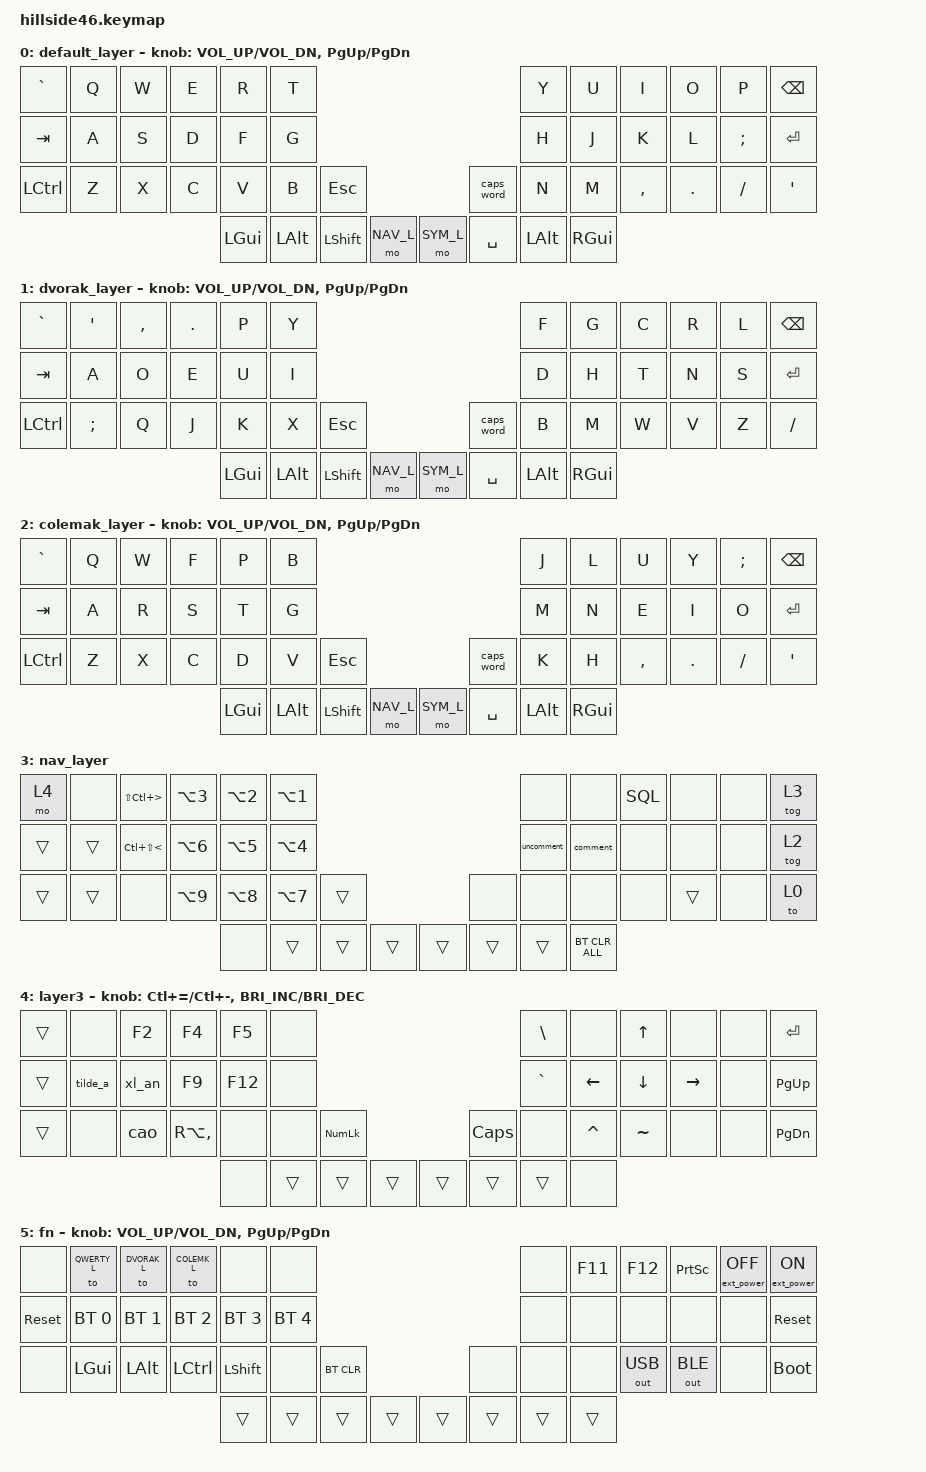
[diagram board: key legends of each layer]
/*
 * Copyright (c) 2021-2022 The ZMK Contributors
 *
 * SPDX-License-Identifier: MIT
 */

#include <behaviors.dtsi>
#include <dt-bindings/zmk/bt.h>
#include <dt-bindings/zmk/keys.h>
#include <dt-bindings/zmk/outputs.h>
#include <dt-bindings/zmk/pointing.h>

#define QWERTY_L 0
#define DVORAK_L 1
#define COLEMK_L 2
#define NAV_L    3
#define SYM_L    4
#define ADJ_L    5
#define Undo   LC(Z)
#define Cut    LC(X)
#define Copy   LC(C)
#define Paste  LC(V)
#define Redo   LC(Y)

/ {
    combos {
        compatible = "zmk,combos";

        Layer3 {
            bindings = <&kt LG(L)>;
            key-positions = <38 45>;
        };

        tilde_a {
            bindings = <&tilde_a>;
            key-positions = <43 13>;
        };

        tilde_o {
            bindings = <&tilde_o>;
            key-positions = <43 9>;
        };

        f2 {
            bindings = <&kp F2>;
            key-positions = <27 40>;
        };

        cedilha2 {
            bindings = <&kp RA(COMMA)>;
            key-positions = <27 43>;
        };

        enter {
            bindings = <&kp ENTER>;
            key-positions = <43 11>;
        };

        par {
            bindings = <&par>;
            key-positions = <40 16>;
        };

        brac {
            bindings = <&brac>;
            key-positions = <40 4>;
        };

        braces {
            bindings = <&brace>;
            key-positions = <40 1>;
        };

        ag {
            bindings = <&ag>;
            key-positions = <43 18>;
        };

        circ {
            bindings = <&circ>;
            key-positions = <43 33>;
        };

        enter2 {
            bindings = <&kp ENTER>;
            key-positions = <40 0>;
        };

        esc {
            bindings = <&kp ESCAPE>;
            key-positions = <39 29>;
        };

        esc2 {
            bindings = <&kp ESCAPE>;
            key-positions = <44 32>;
        };

        del {
            bindings = <&kp DEL>;
            key-positions = <40 39>;
        };

        backspace {
            bindings = <&kp BACKSPACE>;
            key-positions = <40 41>;
        };

        p1 {
            bindings = <&p1>;
            key-positions = <30 41 40 39>;
        };

        p2 {
            bindings = <&p2>;
            key-positions = <0 12 24 41 40>;
        };

        LM {
            bindings = <&mkp MB1>;
            key-positions = <41 16>;
        };

        LM2 {
            bindings = <&mkp MB1>;
            key-positions = <41 17>;
        };

        RM {
            bindings = <&mkp MB2>;
            key-positions = <41 4>;
        };
    };

    macros {
        tilde_a: cedilha2 {
            compatible = "zmk,behavior-macro";
            #binding-cells = <0>;
            bindings = <&kp TILDE>, <&macro_wait_time 1>, <&kp A>;

            label = "CEDILHA2";
        };

        tilde_o: tilde_o {
            compatible = "zmk,behavior-macro";
            #binding-cells = <0>;
            bindings = <&kp TILDE>, <&macro_tap>, <&kp O>;

            label = "TILDE_O";
        };

        cao: cao {
            compatible = "zmk,behavior-macro";
            #binding-cells = <0>;
            bindings = <&kp RA(COMMA)>, <&macro_tap>, <&tilde_a>;

            label = "CAO";
        };

        circ: circ {
            compatible = "zmk,behavior-macro";
            #binding-cells = <0>;
            bindings = <&kp CARET>, <&macro_tap>, <&kp E>;

            label = "CIRC";
        };

        ag: ag {
            compatible = "zmk,behavior-macro";
            #binding-cells = <0>;
            bindings = <&kp GRAVE>, <&macro_tap>, <&kp A>;

            label = "AG";
        };

        par: par {
            compatible = "zmk,behavior-macro";
            #binding-cells = <0>;
            bindings =
                <&kp LEFT_PARENTHESIS>,
                <&macro_tap>,
                <&kp RIGHT_PARENTHESIS>,
                <&macro_tap>,
                <&kp LEFT>;

            label = "PAR";
        };

        brac: brac {
            compatible = "zmk,behavior-macro";
            #binding-cells = <0>;
            bindings =
                <&kp LEFT_BRACKET>,
                <&macro_tap>,
                <&kp RIGHT_BRACKET>,
                <&macro_tap>,
                <&kp LEFT_ARROW>;

            label = "BRAC";
        };

        brace: brace {
            compatible = "zmk,behavior-macro";
            #binding-cells = <0>;
            bindings =
                <&kp LEFT_BRACE>,
                <&macro_tap>,
                <&kp RIGHT_BRACE>,
                <&macro_tap>,
                <&kp LEFT_ARROW>;

            label = "BRACE";
        };

        SQL: SQL {
            compatible = "zmk,behavior-macro";
            #binding-cells = <0>;
            bindings = <&kp LS(S) &kp LS(E) &kp LS(L) &kp LS(E) &kp LS(C) &kp LS(T) &kp RET &kp STAR &kp RET &kp LS(F) &kp LS(R) &kp LS(O) &kp LS(M)>;
            label = "SQL";
        };

        comment: comment {
            compatible = "zmk,behavior-macro";
            #binding-cells = <0>;
            bindings = <&kp LC(K) &kp LC(C)>;
            label = "comment";
        };

        uncomment: uncomment {
            compatible = "zmk,behavior-macro";
            #binding-cells = <0>;
            bindings = <&kp LC(K) &kp LC(U)>;
            label = "UNCOMMENT";
        };

        p1: p1 {
            compatible = "zmk,behavior-macro";
            #binding-cells = <0>;
            bindings =
                <&kp N2 &kp N9 &kp N0 &kp N9 &kp N1 &kp N9 &kp N6 &kp N7>,
                <&macro_press>;

            label = "P1";
            wait-ms = <1>;
            tap-ms = <1>;
        };

        a_top: a_top {
            compatible = "zmk,behavior-macro";
            #binding-cells = <0>;
            bindings = <&kp LA(NUMBER_2) &kp A &kp T>;
            label = "A_TOP";
        };

        a_bottom: a_bottom {
            compatible = "zmk,behavior-macro";
            #binding-cells = <0>;
            bindings = <&kp LA(NUMBER_2) &kp A &kp B>;
            label = "A_BOTTOM";
        };

        a_left: a_left {
            compatible = "zmk,behavior-macro";
            #binding-cells = <0>;
            bindings = <&kp LA(NUMBER_2) &kp A &kp L>;
            label = "A_LEFT";
        };

        a_right: a_right {
            compatible = "zmk,behavior-macro";
            #binding-cells = <0>;
            bindings = <&kp LA(NUMBER_2) &kp A &kp R>, <&macro_press>;

            label = "A_RIGHT";
        };

        a_middle: a_middle {
            compatible = "zmk,behavior-macro";
            #binding-cells = <0>;
            bindings = <&kp LA(NUMBER_2) &kp A &kp M>;
            label = "A_MIDDLE";
        };

        a_center: a_center {
            compatible = "zmk,behavior-macro";
            #binding-cells = <0>;
            bindings = <&kp LA(NUMBER_2) &kp A &kp C>;
            label = "A_CENTER";
        };

        d_vert: d_vert {
            compatible = "zmk,behavior-macro";
            #binding-cells = <0>;
            bindings = <&kp LA(NUMBER_2) &kp A &kp V>;
            label = "D_VERT";
        };

        d_hor: d_hor {
            compatible = "zmk,behavior-macro";
            #binding-cells = <0>;
            bindings = <&kp LA(NUMBER_2) &kp A &kp H>;
            label = "D_HOR";
        };

        p2: p2 {
            compatible = "zmk,behavior-macro";
            #binding-cells = <0>;
            bindings = <&kp UNDER &kp LS(P) &kp C &kp X &kp G &kp H &kp LS(S) &kp N1 &kp N2 &kp N8 &kp N0>;
            label = "P2";
            wait-ms = <1>;
            tap-ms = <1>;
        };

        xl_an: xl_an {
            compatible = "zmk,behavior-macro";
            #binding-cells = <0>;
            bindings = <&kp LA(NUMBER_2) &kp A &kp N>;
            label = "XL_AN";
        };
    };

    behaviors {
        d_fix: d_fix {
            compatible = "zmk,behavior-tap-dance";
            label = "D_FIX";
            #binding-cells = <0>;
            bindings = <&kp D>, <&kp D>, <&kp D>, <&kp D>;

            tapping-term-ms = <250>;
        };
    };

    keymap {
        compatible = "zmk,keymap";

        default_layer {
            /* QWERTY
 * -------------------------------------------------------------------------------------------------------------------------------------
 * | `     |   Q   |   W   |   E   |   R   |   T   |-----------------------------------|   Y   |   U   |   I   |   O   |   P   | BKSPC |
 * | TAB   |   A   |   S   |   D   |   F   |   G   |-----------------------------------|   H   |   J   |   K   |   L   |   ;   | ENTER |
 * | CTRL  |   Z   |   X   |   C   |   V   |   B   |  ESC  |-------------------|  CAPS |   N   |   M   |   ,   |   .   |   /   |   '   |
 *                                 |  GUI  |  ALT  |SK SHFT|  Nav  |---|  Sym  | SPACE |  ALT  |  GUI  |
 */
                        bindings = <
&kp  GRAVE    &kp  Q        &kp  W        &kp  E        &kp  R        &kp  T                                                                         &kp  Y        &kp  U        &kp  I        &kp  O        &kp  P        &kp  BSPC
&kp  TAB      &kp  A        &kp  S        &kp  D        &kp  F        &kp  G                                                                         &kp  H        &kp  J        &kp  K        &kp  L        &kp  SEMI     &kp  ENTER  
&kp  LCTRL    &kp  Z        &kp  X        &kp  C        &kp  V        &kp  B        &kp  ESC                                           &caps_word    &kp  N        &kp  M        &kp  COMMA    &kp  DOT      &kp  SLASH    &kp  SQT
                                                        &kp  LGUI     &kp  LALT     &kp  LSHIFT    &mo  NAV_L            &mo  SYM_L    &kp  SPACE    &kp  LALT     &kp  RGUI
                        >;
			
                        sensor-bindings = <&inc_dec_kp C_VOL_UP C_VOL_DN &inc_dec_kp PG_UP PG_DN>;
                };
		
                dvorak_layer {
/* DVORAK
 * -------------------------------------------------------------------------------------------------------------------------------------
 * | `     |   '   |   ,   |   .   |   P   |   Y   |-----------------------------------|   F   |   G   |   C   |   R   |   L   | BKSPC |
 * | TAB   |   A   |   O   |   E   |   U   |   I   |-----------------------------------|   D   |   H   |   T   |   N   |   S   | ENTER |
 * | CTRL  |   ;   |   Q   |   J   |   K   |   X   |  ESC  |-------------------| CAPS  |   B   |   M   |   W   |   V   |   Z   |   /   |
 *                                 |  GUI  |  ALT  |SK SHFT|  Nav  |---|  Sym  | SPACE |  ALT  |  GUI  |
 */
                        bindings = <
&kp  GRAVE    &kp  SQT      &kp  COMMA    &kp  DOT      &kp  P        &kp  Y                                                                         &kp  F        &kp  G        &kp  C        &kp  R        &kp  L        &kp  BSPC
&kp  TAB      &kp  A        &kp  O        &kp  E        &kp  U        &kp  I                                                                         &kp  D        &kp  H        &kp  T        &kp  N        &kp  S        &kp  ENTER
&kp  LCTRL    &kp  SEMI     &kp  Q        &kp  J        &kp  K        &kp  X        &kp  ESC                                           &caps_word    &kp  B        &kp  M        &kp  W        &kp  V        &kp  Z        &kp  SLASH
                                                        &kp  LGUI     &kp  LALT     &kp  LSHIFT    &mo  NAV_L            &mo  SYM_L    &kp  SPACE    &kp  LALT     &kp  RGUI
                        >;
			
                        sensor-bindings = <&inc_dec_kp C_VOL_UP C_VOL_DN &inc_dec_kp PG_UP PG_DN>;
                };
		
                colemak_layer {
/* COLEMAK-DH
 * -------------------------------------------------------------------------------------------------------------------------------------
 * | `     |   Q   |   W   |   F   |   P   |   B   |-----------------------------------|   J   |   L   |   U   |   Y   |   ;   | BKSPC |
 * | TAB   |   A   |   R   |   S   |   T   |   G   |-----------------------------------|   M   |   N   |   E   |   I   |   O   | ENTER |
 * | CTRL  |   Z   |   X   |   C   |   D   |   V   |  ESC  |-------------------| CAPS  |   K   |   H   |   ,   |   .   |   /   |   '   |
 *                                 |  GUI  |  ALT  |SK SHFT|  Nav  |---|  Sym  | SPACE |  ALT  |  GUI  |
 */
                        bindings = <
&kp  GRAVE    &kp  Q        &kp  W        &kp  F        &kp  P        &kp  B                                                                         &kp  J        &kp  L        &kp  U        &kp  Y        &kp  SEMI     &kp  BSPC
&kp  TAB      &kp  A        &kp  R        &kp  S        &kp  T        &kp  G                                                                         &kp  M        &kp  N        &kp  E        &kp  I        &kp  O        &kp  ENTER
&kp  LCTRL    &kp  Z        &kp  X        &kp  C        &kp  D        &kp  V        &kp   ESC                                          &caps_word    &kp  K        &kp  H        &kp  COMMA    &kp  DOT      &kp  SLASH    &kp  SQT
                                                        &kp  LGUI     &kp  LALT     &kp  LSHIFT    &mo  NAV_L            &mo  SYM_L    &kp  SPACE    &kp  LALT     &kp  RGUI
                        >;
			
                        sensor-bindings = <&inc_dec_kp C_VOL_UP C_VOL_DN &inc_dec_kp PG_UP PG_DN>;
                };
		
                nav_layer {
/* NAV   
 * -------------------------------------------------------------------------------------------------------------------------------------
 * | Copy  |   1   |   2   |   3   |   4   |   5   |-----------------------------------|   6   |   7   |   8   |   9   |   0   | BSPC  |
 * | Cut   |  GUI  |  Alt  | Ctrl  | Shift | Paste |-----------------------------------| PG UP |  Left |  Up   |  Down | Right | PG DN |
 * | Ctrl  |  F1   |  F2   |  F3   |  F4   |  F5   |  UnDo |-------------------| ReDo  |  F6   |  F7   |  F8   |  F9   |  F10  | Ctrl  |
 *                                 |       |       |       |       |---| ADJ_L |       |       |       |
 */

            bindings = <
&mo 4   &none   &kp LS(LC(GREATER_THAN))  &kp LA(NUMBER_3)  &kp LA(NUMBER_2)  &kp LA(NUMBER_1)                                    &none       &none           &SQL   &none   &none  &tog 3
&trans  &trans  &kp LC(LS(LESS_THAN))     &kp LA(NUMBER_6)  &kp LA(NUMBER_5)  &kp LA(NUMBER_4)                                    &uncomment  &comment        &none  &none   &none  &tog 2
&trans  &trans  &none                     &kp LA(NUMBER_9)  &kp LA(NUMBER_8)  &kp LA(NUMBER_7)  &trans                    &none   &none       &none           &none  &trans  &none  &to 0
                                                            &none             &trans            &trans  &trans    &trans  &trans  &trans      &bt BT_CLR_ALL
            >;
        };

        layer3 {
            /* COLEMAK-DH
 * -------------------------------------------------------------------------------------------------------------------------------------
 * | `     |   Q   |   W   |   F   |   P   |   B   |-----------------------------------|   J   |   L   |   U   |   Y   |   ;   | BKSPC |
 * | TAB   |   A   |   R   |   S   |   T   |   G   |-----------------------------------|   M   |   N   |   E   |   I   |   O   | ENTER |
 * | CTRL  |   Z   |   X   |   C   |   D   |   V   |  ESC  |-------------------| CAPS  |   K   |   H   |   ,   |   .   |   /   |   '   |
 *                                 |  GUI  |  ALT  |SK SHFT|  Nav  |---|  Sym  | SPACE |  ALT  |  GUI  |
 */

            bindings = <
&trans  &none     &kp F2  &kp F4         &kp F5   &none                                               &kp BACKSLASH  &none           &kp UP_ARROW    &none            &none  &kp ENTER
&trans  &tilde_a  &xl_an  &kp F9         &kp F12  &none                                               &kp GRAVE      &kp LEFT_ARROW  &kp DOWN_ARROW  &kp RIGHT_ARROW  &none  &kp PAGE_UP
&trans  &none     &cao    &kp RA(COMMA)  &none    &none   &kp KP_NUMLOCK                    &kp CAPS  &none          &kp CARET       &kp TILDE       &none            &none  &kp PAGE_DOWN
                                         &none    &trans  &trans          &trans    &trans  &trans    &trans         &none
            >;

            sensor-bindings =
                <&inc_dec_kp LC(EQUAL) LC(MINUS)>,
                <&inc_dec_kp C_BRIGHTNESS_INC C_BRIGHTNESS_DEC>;
        };

        fn {
            /* ADJUST
 * -------------------------------------------------------------------------------------------------------------------------------------
 * |       | QWERTY| DVORAK| COLEMK|       |       |-----------------------------------|       |  F11  |  F12  |Prt Scr|EP_OFF | EP_ON |
 * | RESET | BT 0  | BT 1  | BT 2  | BT 3  | BT 4  |-----------------------------------|       |       |       |       |       | RESET |
 * |       | LGUI  | LALT  | LCTRL | LSHIFT|       |BT CLR |-------------------|       |       |       |OUT_USB|OUT_BLE|       | BOOTL |
 *                                 |       |       |       |       |---|       |       |       |       |
 */
                        bindings = <
&none         &to  QWERTY_L &to  DVORAK_L &to  COLEMK_L &none         &none                                                                             &none             &kp   F11          &kp   F12  &kp PRINTSCREEN   &ext_power EP_OFF  &ext_power EP_ON
&sys_reset    &bt  BT_SEL 0 &bt  BT_SEL 1 &bt  BT_SEL 2 &bt  BT_SEL 3 &bt  BT_SEL 4                                                                     &none             &none              &none            &none          &none           &sys_reset
&none         &kp  LGUI     &kp  LALT     &kp  LCTRL    &kp LSHIFT    &none         &bt BT_CLR                                         &none            &none             &none              &out  OUT_USB    &out  OUT_BLE  &none           &bootloader
                                                        &trans        &trans        &trans        &trans                 &trans        &trans           &trans            &trans 
                        >;
			
                        sensor-bindings = <&inc_dec_kp C_VOL_UP C_VOL_DN &inc_dec_kp PG_UP PG_DN>;
                };
        };
};
